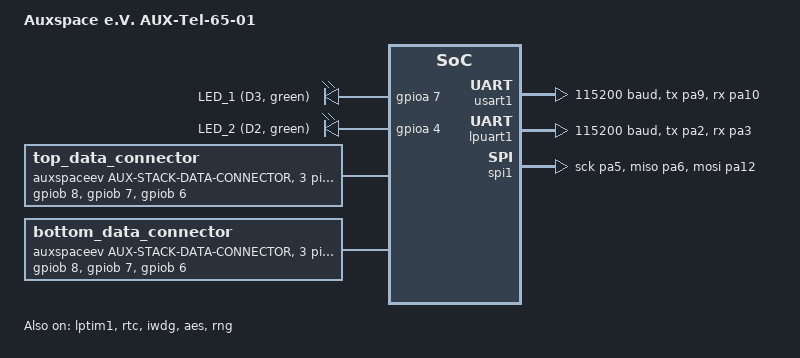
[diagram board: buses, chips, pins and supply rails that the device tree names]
/*
 * Copyright (c) 2026 Auxspace e.V.
 *
 * SPDX-License-Identifier: Apache-2.0
 *
 * AUX-Tel-65-01 hardware: the telemetry board of the AUX-Stack. A 65 mm
 * round PCB, revision 01, that stacks on AUX-Core-65-01 through the same
 * pair of AUX-Stack connectors.
 *
 *   - Würth Daphnis-I (STM32WLE5CCU6) LoRa module. The antenna goes to
 *     the module's UMRF (U.FL / MHF1) connector, so the RF pad is left
 *     as an unconnected solder pad - which is what the user manual
 *     requires when the UMRF connector is used, not an omission.
 *   - MCP2515 SPI CAN controller behind a TCAN334 transceiver, tapped
 *     off the stack CAN_H/CAN_L pair through R21/R22 (split termination
 *     on board, 2 x 60R4 = 120.8 Ohm).
 *   - Inter-board link to AUX-Core over the stack UART on LPUART1.
 *   - Console and SWD on the J5 2x4 debug header, which also brings
 *     +3V3 out on pins 5/6 - so a probe can power the board, but never
 *     at the same time as the on-board LDO.
 *   - Two green status LEDs (D2, D3), RESET (SW4) and BOOT (SW3)
 *     buttons.
 *   - 3V3 from a TPS7B8601 LDO fed by a jumper-selected VBus rail.
 *
 * ---------------------------------------------------------------------
 * Hardware revision this file describes
 * ---------------------------------------------------------------------
 * Synced against the AUX-Tel repo at e71a667 (2026-11-03) - still rev 01,
 * from a netlist exported out of 3_Elektronik/Aux-Tel.kicad_sch.
 *
 * Fixed on the PCB since the first version of this file:
 *
 *   - SPI_SCK moved from Daphnis pin 2 (PB8) to pin 16 (PA5), and ARM
 *     took pin 2 in exchange (AUX-Tel d2d27a3, "fixed SPI-Bus"). PB8 has
 *     no SPI alternate function on the STM32WLE5; PA5 is SPI1_SCK. The
 *     Lora sheet now carries the STM32/Daphnis/function table this came
 *     out of. The nodes below already described the post-swap wiring, so
 *     nothing in devicetree moved with it.
 *
 * Still open on the PCB, and NOT worked around here:
 *
 *   1. MCP2515 ~INT (U4 pin 12) is still a no-connect, and Daphnis pin 13
 *      (PA0, /WAKE_UP) went the other way - from a labelled net to an
 *      unconnected pad. Zephyr's microchip,mcp2515 binding makes
 *      int-gpios a required property, so aux_data_can below has to name
 *      some pin; it names PA0 because that is the module's wake-capable
 *      input and the obvious place to land a CAN interrupt. Until the
 *      wire exists the node stays status = "disabled": enabling it gets
 *      you a controller that never reports anything.
 *   2. MCP2515 ~RESET (U4 pin 17) is a no-connect, i.e. floating. A
 *      pull-up to +3V3 is enough; one of the unrouted pads (PA15 on pin
 *      28, say) would give firmware control over it instead.
 *   3. TCAN334 STB and SHDN (U3 pins 8 and 5) are no-connects, with no
 *      external pull on either. Tie them low for normal mode rather than
 *      relying on internal biasing. This is also why the transceiver is a
 *      plain can-transceiver child node here, and not the
 *      can-transceiver-gpio AUX-Core uses for its own TCAN334.
 *   4. BAT_ON lost its only driver. Daphnis pin 21 (PA8, GPIO_5) used to
 *      carry the stack's "Bat on ext" net; it is now an unconnected pad,
 *      and "Bat on ext" merely bridges the two stack connectors (J1 pin
 *      10 to J2 pin 10). AUX-Tel can no longer request the battery rail,
 *      so AUX_DATA_BAT_ON is absent from the gpio-maps below - the
 *      schematic's own annotation still reads "Input: Bat enable when
 *      high", so routing PA8 back to that net is all it would take.
 *
 * LED wiring, since an earlier version of this comment had it backwards:
 * D1, D2 and D3 all sit cathode-to-GND with the anode on a series
 * resistor up to the driver, so LED_1/LED_2 source current and are active
 * HIGH, exactly as user manual chapter 5.9 says. D1 hangs off +3V3 as a
 * power-on indicator; D2 is LED_2 (PA4) and D3 is LED_1 (PA7). The series
 * resistors went 392R -> 1k in rev 01, so expect dimmer LEDs than on the
 * first boards.
 */

#include <auxspace/dt-bindings/gpio/auxspaceev-aux-stack-data-connector.h>

/ {
	model = "Auxspace e.V. AUX-Tel-65-01";
	compatible = "auxspaceev,tel65";

	aliases {
		watchdog0 = &iwdg;
		lora0 = &lora;
		led0 = &led_1;
		led1 = &led_2;
		uart-0 = &usart1;
	};

	chosen {
		zephyr,sram = &sram0;
		zephyr,flash = &flash0;
		zephyr,code-partition = &slot0_partition;
		/* J5 debug header; the stack UART stays free for AUX-Core. */
		zephyr,console = &usart1;
		zephyr,shell-uart = &usart1;
		zephyr,system-timer = &lptim1;
		zephyr,canbus = &aux_data_can;
	};

	status_leds: status-leds {
		compatible = "gpio-leds";

		led_1: led_1 {
			gpios = <&gpioa 7 GPIO_ACTIVE_HIGH>;
			label = "LED_1 (D3, green)";
		};

		led_2: led_2 {
			gpios = <&gpioa 4 GPIO_ACTIVE_HIGH>;
			label = "LED_2 (D2, green)";
		};
	};

	/*
	 * Both stack connectors are wired in parallel on AUX-Tel: the
	 * information signals land on the same module pins, CAN_H/CAN_L run
	 * straight through between J1 and J2, and the UART and I2C pairs are
	 * bridged top-to-bottom through 0R links (R23/R24 for UART, R25/R26
	 * for I2C). The other 0R links are taps rather than bridges: R21/R22
	 * hang the TCAN334 off the CAN pair, R19/R20 hang LPUART1 off the
	 * UART pair. The board is a pass-through for I2C, so neither
	 * connector claims an i2c-bus - nothing on AUX-Tel sits on it.
	 *
	 * AUX_DATA_BAT_ON is deliberately missing from both maps: PA8 is an
	 * unconnected pad on rev 01, so there is no GPIO to point it at (see
	 * the header). A consumer that references it fails at build time,
	 * which is the behaviour we want.
	 */
	top_data_connector: connector_0 {
		compatible = "auxspaceev,aux-stack-data-connector";
		#gpio-cells = <2>;
		gpio-map-mask = <0xffffffff 0xffffffc0>;
		gpio-map-pass-thru = <0 0x3f>;
		gpio-map = <AUX_DATA_ARM 0 &gpiob 8 0>,
			   <AUX_DATA_LIFTOFF 0 &gpiob 7 0>,
			   <AUX_DATA_PWRFLT 0 &gpiob 6 0>;

		can-bus = <&aux_data_can>;
		uart-bus = <&lpuart1>;
	};

	bottom_data_connector: connector_1 {
		compatible = "auxspaceev,aux-stack-data-connector";
		#gpio-cells = <2>;
		gpio-map-mask = <0xffffffff 0xffffffc0>;
		gpio-map-pass-thru = <0 0x3f>;
		gpio-map = <AUX_DATA_ARM 0 &gpiob 8 0>,
			   <AUX_DATA_LIFTOFF 0 &gpiob 7 0>,
			   <AUX_DATA_PWRFLT 0 &gpiob 6 0>;

		can-bus = <&aux_data_can>;
		uart-bus = <&lpuart1>;
	};

	/*
	 * ARM, LIFTOFF and PWRFLT are all inputs on AUX-Tel - AUX-Core and
	 * AUX-Pwr drive them - and are reached through the connector nexus
	 * above. Polarities, from the Baseboard sheet annotations: ARM and
	 * LIFTOFF assert high, Power Fault asserts low. Consumers set those
	 * flags themselves, the same way AUX-Core's arm_interlock does.
	 *
	 * With BAT_ON unrouted there is no stack signal left for this board
	 * to drive, so there is no stack-outputs node here.
	 */
};

/* HSI16 x 6 / 2 = 48 MHz. HSE is reserved for the radio's TCXO. */
&pll {
	div-m = <1>;
	mul-n = <6>;
	div-r = <2>;
	div-q = <2>;
	clocks = <&clk_hsi>;
	status = "okay";
};

&rcc {
	clocks = <&pll>;
	clock-frequency = <DT_FREQ_M(48)>;
	cpu1-prescaler = <1>;
	ahb3-prescaler = <1>;
	apb1-prescaler = <1>;
	apb2-prescaler = <1>;
};

/*
 * LPTIM1 off the LSE is wired up as zephyr,system-timer, but
 * CONFIG_STM32_LPTIM_TIMER also depends on CONFIG_PM, so the kernel runs
 * on SysTick until an application opts into power management. Enabling
 * CONFIG_PM=y is all it takes to move the tick over.
 */
&lptim1 {
	clocks = <&rcc STM32_CLOCK(APB1, 31)>,
		 <&rcc STM32_SRC_LSE LPTIM1_SEL(3)>;
	status = "okay";
};

&rtc {
	clocks = <&rcc STM32_CLOCK(APB1, 10)>,
		 <&rcc STM32_SRC_LSE RTC_SEL(1)>;
	status = "okay";
};

&iwdg {
	status = "okay";
};

&aes {
	status = "okay";
};

&rng {
	status = "okay";
};

/* J5 pin 3 (UTXD1) / pin 1 (URXD1), alongside SWDIO and SWDCLK. */
&usart1 {
	pinctrl-0 = <&usart1_tx_pa9 &usart1_rx_pa10>;
	pinctrl-names = "default";
	current-speed = <115200>;
	status = "okay";
};

/*
 * The stack UART. Daphnis LPUTXD1 (PA2) drives the connector's UART_RX
 * pin and LPURXD1 (PA3) listens on UART_TX, i.e. the connector pins are
 * named from the brain board's point of view, so this mates with
 * AUX-Core's aux_data_uart_* without a crossover.
 */
aux_data_uart: &lpuart1 {
	pinctrl-0 = <&lpuart1_tx_pa2 &lpuart1_rx_pa3>;
	pinctrl-names = "default";
	current-speed = <115200>;
	status = "okay";
};

/*
 * The MCP2515 is the only thing on SPI1, so the bus follows the module's
 * SPI pads: SCK on PA5, MISO on PA6, MOSI on PA12, and CS driven as a
 * plain GPIO on PB2 (the module's SPI1_NSS pad). The bus is enabled while
 * its only child stays disabled, so that enabling aux_data_can from an
 * overlay is enough on its own - a disabled parent bus would otherwise
 * fail the build with an undeclared __device_dts_ord_* for spi@40013000.
 * Nothing is instantiated either way until an application turns on
 * CONFIG_SPI.
 */
&spi1 {
	pinctrl-0 = <&spi1_sck_pa5 &spi1_miso_pa6 &spi1_mosi_pa12>;
	pinctrl-names = "default";
	cs-gpios = <&gpiob 2 GPIO_ACTIVE_LOW>;
	status = "okay";

	/*
	 * Y2 is an 8 MHz crystal, which caps the MCP2515 at 500 kbit/s
	 * (Tq = 2 x (BRP + 1) / Fosc, and a bit needs at least 8 Tq). No
	 * bitrate is set here so both ends of the stack bus fall back to
	 * CONFIG_CAN_DEFAULT_BITRATE, the same as AUX-Core's TWAI.
	 */
	aux_data_can: can@0 {
		compatible = "microchip,mcp2515";
		reg = <0x0>;
		spi-max-frequency = <DT_FREQ_M(4)>;
		osc-freq = <DT_FREQ_M(8)>;
		int-gpios = <&gpioa 0 GPIO_ACTIVE_LOW>;
		status = "disabled";

		can-transceiver {
			max-bitrate = <1000000>;
		};
	};
};

/*
 * MCUboot in single-app mode (see stm32wl/Kconfig.sysbuild): the only
 * programming path is SWD on J5, so a second image slot would never be
 * filled. MCUboot takes the bottom of flash and the one application slot
 * gets everything up to the storage partition. All boundaries sit on the
 * 2 kB erase pages.
 */
&flash0 {
	partitions {
		ranges;
		#address-cells = <1>;
		#size-cells = <1>;

		boot_partition: partition@0 {
			compatible = "zephyr,mapped-partition";
			label = "mcuboot";
			reg = <0x00000000 DT_SIZE_K(48)>;
			read-only;
		};

		slot0_partition: partition@c000 {
			compatible = "zephyr,mapped-partition";
			label = "image-0";
			reg = <0x0000c000 DT_SIZE_K(200)>;
		};

		storage_partition: partition@3e000 {
			compatible = "zephyr,mapped-partition";
			label = "storage";
			reg = <0x0003e000 DT_SIZE_K(8)>;
		};
	};
};
